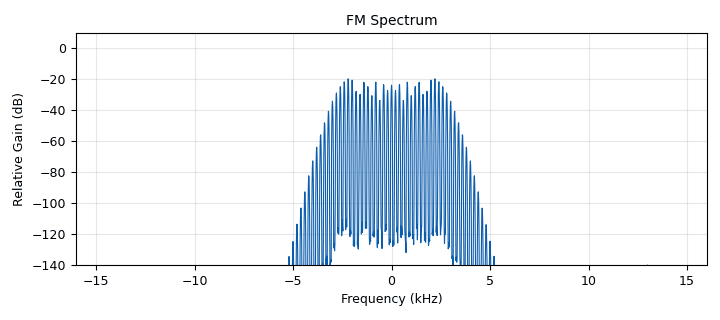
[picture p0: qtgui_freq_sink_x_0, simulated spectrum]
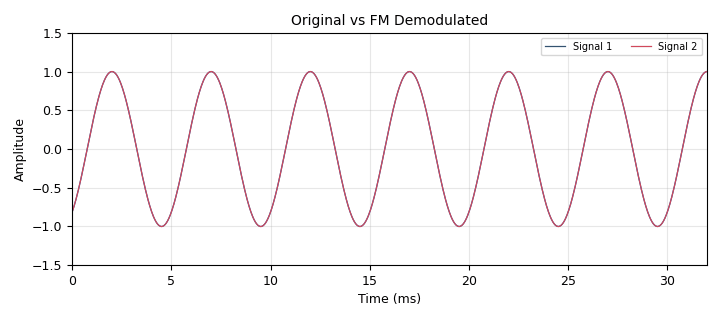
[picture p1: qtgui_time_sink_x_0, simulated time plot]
options:
  parameters:
    author: jithe
    generate_options: qt_gui
    id: fm_modulation
    output_language: python
    title: Not titled yet
  states: {}

blocks:
- name: samp_rate
  id: variable
  parameters:
    value: '32000'
  states: {}
- name: analog_frequency_modulator_fc_0
  id: analog_frequency_modulator_fc
  parameters:
    sensitivity: '0.5'
  states: {}
- name: analog_quadrature_demod_cf_0
  id: analog_quadrature_demod_cf
  parameters:
    gain: '2'
  states: {}
- name: analog_sig_source_x_0
  id: analog_sig_source_x
  parameters:
    amp: '1'
    freq: '200'
    offset: '0'
    phase: '0'
    samp_rate: samp_rate
    type: float
    waveform: analog.GR_COS_WAVE
  states: {}
- name: qtgui_freq_sink_x_0
  id: qtgui_freq_sink_x
  parameters:
    bw: samp_rate
    fc: '0'
    fftsize: '2048'
    name: '"FM Spectrum"'
    type: complex
  states: {}
- name: qtgui_time_sink_x_0
  id: qtgui_time_sink_x
  parameters:
    color2: green
    name: '"Original vs FM Demodulated"'
    nconnections: '2'
    size: '1024'
    srate: samp_rate
    style2: '2'
    type: float
    ymax: '1.5'
    ymin: '-1.5'
  states: {}

connections:
- [analog_frequency_modulator_fc_0, '0', analog_quadrature_demod_cf_0, '0']
- [analog_frequency_modulator_fc_0, '0', qtgui_freq_sink_x_0, '0']
- [analog_quadrature_demod_cf_0, '0', qtgui_time_sink_x_0, '1']
- [analog_sig_source_x_0, '0', analog_frequency_modulator_fc_0, '0']
- [analog_sig_source_x_0, '0', qtgui_time_sink_x_0, '0']

metadata:
  file_format: 1
  grc_version: 3.10.12.0
